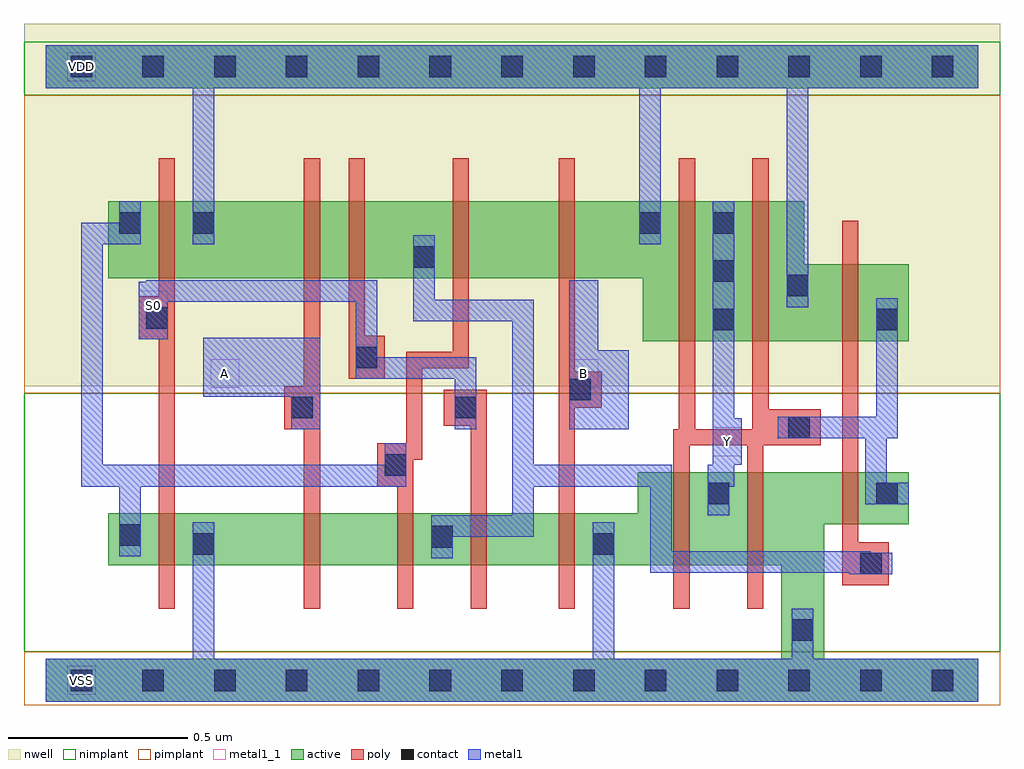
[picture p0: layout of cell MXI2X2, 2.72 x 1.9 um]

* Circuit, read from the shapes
.subckt MXI2X2 A B S0 VDD VSS Y
M1 VSS S0 n1 VSS nfet w=0.145u l=0.045u
M2 n2 A VSS VSS nfet w=0.145u l=0.045u
M3 n3 n1 n2 VSS nfet w=0.145u l=0.045u
M4 n4 S0 n3 VSS nfet w=0.145u l=0.045u
M5 VSS B n4 VSS nfet w=0.145u l=0.045u
M6 Y n5 VSS VSS nfet w=0.26u l=0.045u m=2
M7 n5 n3 VSS VSS nfet w=0.145u l=0.045u
M8 VDD S0 n1 VDD pfet w=0.215u l=0.045u
M9 n6 A VDD VDD pfet w=0.215u l=0.045u
M10 n3 S0 n6 VDD pfet w=0.215u l=0.045u
M11 n7 n1 n3 VDD pfet w=0.215u l=0.045u
M12 VDD B n7 VDD pfet w=0.215u l=0.045u
M13 Y n5 VDD VDD pfet w=0.39u l=0.045u m=2
M14 n5 n3 VDD VDD pfet w=0.215u l=0.045u
.ends

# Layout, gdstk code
import gdstk
lib = gdstk.Library(unit=1e-6, precision=5e-10)
def R(c, l, rs):  # rectangles x0, y0, x1, y1
    for r in rs: c.add(gdstk.rectangle(r[:2], r[2:], *l))
def A(c, l, x, y, w, h, nx, ny, dx, dy):  # array of equal rectangles
    R(c, l, [(x+i*dx, y+j*dy, x+i*dx+w, y+j*dy+h) for i in range(nx) for j in range(ny)])
def P(c, l, *ps):  # polygons
    for p in ps: c.add(gdstk.Polygon(p, *l))
active = (1, 0)
nwell = (2, 0)
poly = (3, 0)
nimplant = (4, 0)
pimplant = (5, 0)
contact = (6, 0)
metal1 = (7, 0)
metal1_1 = (7, 1)

mxi2x2 = lib.new_cell('MXI2X2')
R(mxi2x2, active, [(0,1.65,2.6,1.77)])
P(mxi2x2, active, [(0.175,1.335),(2.115,1.335),(2.115,1.16),(2.405,1.16),(2.405,0.945),(1.665,0.945),(1.665,1.12),(0.175,1.12)],
  [(1.65,0.58),(2.405,0.58),(2.405,0.435),(2.17,0.435),(2.17,0.06),(2.6,0.06),(2.6,-0.06),(0,-0.06),(0,0.06),(2.05,0.06),(2.05,0.32),(0.175,0.32),(0.175,0.465),(1.65,0.465)])
R(mxi2x2, nwell, [(-0.06,0.82,2.66,1.83)])
P(mxi2x2, poly, [(0.315,1.455),(0.36,1.455),(0.36,0.2),(0.315,0.2),(0.315,0.95),(0.26,0.95),(0.26,1.07),(0.315,1.07)],
  [(0.72,1.455),(0.765,1.455),(0.765,0.2),(0.72,0.2),(0.72,0.7),(0.665,0.7),(0.665,0.82),(0.72,0.82)],
  [(0.845,1.455),(0.89,1.455),(0.89,0.96),(0.945,0.96),(0.945,0.84),(0.845,0.84)],
  [(1.135,1.455),(1.18,1.455),(1.18,0.87),(1.05,0.87),(1.05,0.615),(1.025,0.615),(1.025,0.2),(0.98,0.2),(0.98,0.54),(0.925,0.54),(0.925,0.66),(1.005,0.66),(1.005,0.915),(1.135,0.915)],
  [(1.43,1.455),(1.475,1.455),(1.475,0.86),(1.55,0.86),(1.55,0.76),(1.475,0.76),(1.475,0.2),(1.43,0.2)],
  [(1.765,1.455),(1.81,1.455),(1.81,0.7),(1.97,0.7),(1.97,1.455),(2.015,1.455),(2.015,0.755),(2.16,0.755),(2.16,0.655),(2,0.655),(2,0.2),(1.955,0.2),(1.955,0.655),(1.795,0.655),(1.795,0.2),(1.75,0.2),(1.75,0.7),(1.765,0.7)],
  [(2.22,1.28),(2.265,1.28),(2.265,0.385),(2.35,0.385),(2.35,0.265),(2.22,0.265)],
  [(1.11,0.81),(1.23,0.81),(1.23,0.2),(1.185,0.2),(1.185,0.71),(1.11,0.71)])
R(mxi2x2, nimplant, [(-0.06,0.08,2.66,0.8), (-0.06,1.63,2.66,1.78)])
R(mxi2x2, pimplant, [(-0.06,-0.07,2.66,0.08), (-0.06,0.8,2.66,1.63)])
A(mxi2x2, contact, 0.07, -0.03, 0.06, 0.06, 13, 2, 0.2, 1.71)
A(mxi2x2, contact, 1.86, 0.975, 0.06, 0.06, 1, 3, 0, 0.135)
R(mxi2x2, contact, [(2.08,0.11,2.14,0.17), (2.27,0.295,2.33,0.355), (0.41,0.35,0.47,0.41), (1.525,0.35,1.585,0.41), (1.075,0.37,1.135,0.43), (0.205,0.375,0.265,0.435), (1.845,0.49,1.905,0.55), (2.315,0.49,2.375,0.55), (0.945,0.57,1.005,0.63), (2.07,0.675,2.13,0.735), (0.685,0.73,0.745,0.79), (1.14,0.73,1.2,0.79), (1.46,0.78,1.52,0.84), (0.865,0.87,0.925,0.93), (2.315,0.975,2.375,1.035), (0.28,0.98,0.34,1.04), (2.065,1.07,2.125,1.13), (1.025,1.15,1.085,1.21), (0.205,1.245,0.265,1.305), (0.41,1.245,0.47,1.305), (1.655,1.245,1.715,1.305)])
P(mxi2x2, metal1, [(0,1.77),(2.6,1.77),(2.6,1.65),(2.125,1.65),(2.125,1.04),(2.065,1.04),(2.065,1.65),(1.715,1.65),(1.715,1.215),(1.655,1.215),(1.655,1.65),(0.47,1.65),(0.47,1.215),(0.41,1.215),(0.41,1.65),(0,1.65)],
  [(0.205,1.335),(0.265,1.335),(0.265,1.215),(0.16,1.215),(0.16,0.6),(0.945,0.6),(0.945,0.66),(1.005,0.66),(1.005,0.54),(0.265,0.54),(0.265,0.345),(0.205,0.345),(0.205,0.54),(0.1,0.54),(0.1,1.275),(0.205,1.275)],
  [(1.025,1.24),(1.085,1.24),(1.085,1.06),(1.36,1.06),(1.36,0.6),(1.745,0.6),(1.745,0.36),(2.3,0.36),(2.3,0.355),(2.36,0.355),(2.36,0.295),(2.24,0.295),(2.24,0.3),(1.685,0.3),(1.685,0.54),(1.36,0.54),(1.36,0.4),(1.135,0.4),(1.135,0.34),(1.075,0.34),(1.075,0.46),(1.3,0.46),(1.3,1),(1.025,1)],
  [(0.28,1.115),(0.925,1.115),(0.925,0.9),(1.2,0.9),(1.2,0.7),(1.14,0.7),(1.14,0.84),(0.865,0.84),(0.865,1.055),(0.34,1.055),(0.34,0.95),(0.26,0.95),(0.26,1.11),(0.28,1.11)],
  [(1.86,1.335),(1.92,1.335),(1.92,0.73),(1.94,0.73),(1.94,0.6),(1.92,0.6),(1.92,0.54),(1.905,0.54),(1.905,0.46),(1.845,0.46),(1.845,0.6),(1.86,0.6)],
  [(0.44,0.955),(0.765,0.955),(0.765,0.7),(0.685,0.7),(0.685,0.79),(0.44,0.79)],
  [(1.46,1.115),(1.54,1.115),(1.54,0.92),(1.625,0.92),(1.625,0.7),(1.46,0.7)],
  [(2.315,1.065),(2.375,1.065),(2.375,0.675),(2.345,0.675),(2.345,0.55),(2.405,0.55),(2.405,0.49),(2.285,0.49),(2.285,0.675),(2.04,0.675),(2.04,0.735),(2.315,0.735)],
  [(0.41,0.44),(0.47,0.44),(0.47,0.06),(1.525,0.06),(1.525,0.44),(1.585,0.44),(1.585,0.06),(2.08,0.06),(2.08,0.2),(2.14,0.2),(2.14,0.06),(2.6,0.06),(2.6,-0.06),(0,-0.06),(0,0.06),(0.41,0.06)])
R(mxi2x2, metal1_1, [(0.06,-0.04,0.14,0.04), (1.86,0.625,1.94,0.705), (0.46,0.815,0.54,0.895), (1.46,0.815,1.54,0.895), (0.26,1.005,0.34,1.085), (0.06,1.67,0.14,1.75)])
mxi2x2.add(gdstk.Label('Y', (1.9,0.665), layer=7, texttype=1))
mxi2x2.add(gdstk.Label('B', (1.5,0.855), layer=7, texttype=1))
mxi2x2.add(gdstk.Label('A', (0.5,0.855), layer=7, texttype=1))
mxi2x2.add(gdstk.Label('S0', (0.3,1.045), layer=7, texttype=1))
mxi2x2.add(gdstk.Label('VDD', (0.1,1.71), layer=7, texttype=1))
mxi2x2.add(gdstk.Label('VSS', (0.1,0), layer=7, texttype=1))
mxi2x2.add(gdstk.Label('MXI2X2', (0,0), layer=63, texttype=0))

lib.write_gds('MXI2X2.gds')
